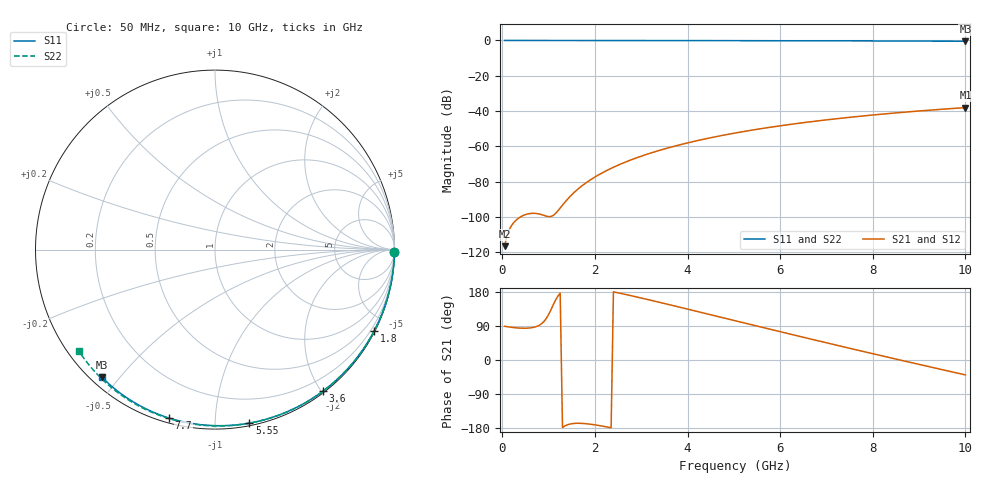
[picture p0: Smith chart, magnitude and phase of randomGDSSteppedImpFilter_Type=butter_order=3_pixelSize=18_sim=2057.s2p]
! freq	dB(S11)	phase(S11)	dB(S12)	phase(S12)
!  dB(S21)	phase(S21)	dB(S22)	phase(S22)
!S-par simulation data
#  GHz  S  DB  R 50
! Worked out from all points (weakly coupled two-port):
!   200 points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, 50 MHz to 10 GHz, reference 50 ohm
!   highest |S21| = -38.03 dB at 10 GHz (marker M1); lowest = -116.5 dB at 50 MHz (marker M2)
!   lowest |S11| = -0.4 dB at 10 GHz (marker M3), VSWR 39.04, Z = 1.54 - j22.5 ohm
!   |S11| at or under -10 dB: nowhere
!   |S22| runs from -0.5 to 0.0 dB; largest |S21 - S12| = 0
!   S11 on the Smith chart (normalised r, x): 50 MHz: open; 1.8 GHz: 0.04, -4.16; 3.6 GHz: 0.02, -2.01; 5.55 GHz: 0.02, -1.22; 7.7 GHz: 0.02, -0.76; 10 GHz: 0.03, -0.45
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0.05  -0.00 -0.8  -116.49 89.0  -116.49 89.0  -0.00 -0.8
0.45  -0.01 -6.9  -99.12 83.8  -99.12 83.8  -0.01 -7.5
0.9  -0.02 -13.6  -99.07 101.7  -99.07 101.7  -0.02 -14.8
1.75  -0.03 -26.3  -81.72 -167.5  -81.72 -167.5  -0.04 -28.6
1.8  -0.03 -27.0  -80.76 -168.0  -80.76 -168.0  -0.04 -29.4
1.85  -0.04 -27.7  -79.85 -168.6  -79.85 -168.6  -0.04 -30.2
2  -0.04 -29.9  -77.33 -171.1  -77.33 -171.1  -0.04 -32.6
2.15  -0.04 -32.1  -75.09 -174.2  -75.09 -174.2  -0.04 -34.9
2.35  -0.05 -35.0  -72.42 -178.9  -72.42 -178.9  -0.05 -38.1
2.55  -0.05 -37.9  -70.05 176.0  -70.05 176.0  -0.05 -41.2
2.95  -0.06 -43.7  -65.99 165.0  -65.99 165.0  -0.06 -47.4
3.4  -0.07 -50.0  -62.19 152.1  -62.19 152.1  -0.07 -54.3
3.6  -0.07 -52.8  -60.70 146.2  -60.70 146.2  -0.08 -57.3
4.3  -0.09 -62.4  -56.20 125.4  -56.20 125.4  -0.10 -67.7
5.05  -0.11 -72.3  -52.31 103.0  -52.31 103.0  -0.12 -78.5
5.55  -0.13 -78.8  -50.11 88.1  -50.11 88.1  -0.14 -85.4
6.1  -0.15 -85.8  -47.96 71.8  -47.96 71.8  -0.16 -93.0
6.7  -0.18 -93.2  -45.90 54.1  -45.90 54.1  -0.20 -101.0
7.7  -0.24 -105.2  -42.99 25.2  -42.99 25.2  -0.26 -114.0
8.35  -0.29 -112.8  -41.37 6.6  -41.37 6.6  -0.31 -122.4
9.2  -0.36 -122.5  -39.52 -17.2  -39.52 -17.2  -0.39 -133.1
10  -0.45 -131.6  -38.03 -39.3  -38.03 -39.3  -0.48 -143.3
